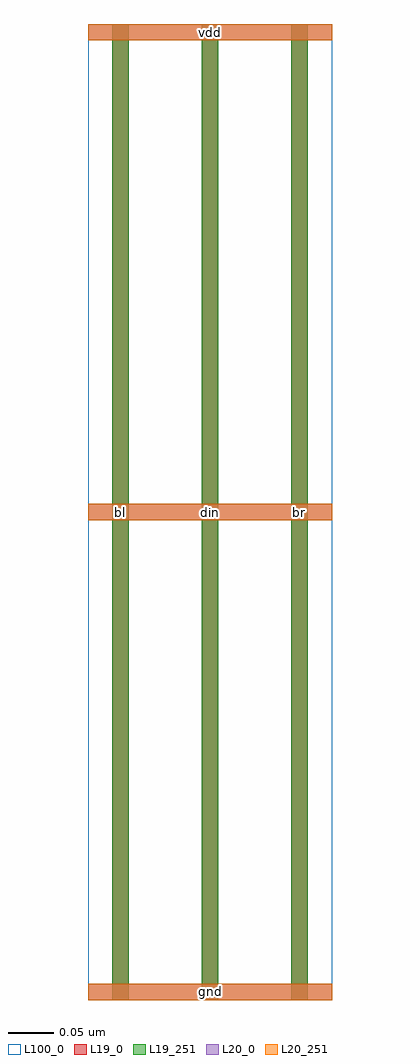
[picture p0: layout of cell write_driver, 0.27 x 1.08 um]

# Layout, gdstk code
import gdstk
lib = gdstk.Library(unit=1e-6, precision=2.5e-10)
def R(c, l, rs):  # rectangles x0, y0, x1, y1
    for r in rs: c.add(gdstk.rectangle(r[:2], r[2:], *l))
def A(c, l, x, y, w, h, nx, ny, dx, dy):  # array of equal rectangles
    R(c, l, [(x+i*dx, y+j*dy, x+i*dx+w, y+j*dy+h) for i in range(nx) for j in range(ny)])
L19_0 = (19, 0)
L19_251 = (19, 251)
L20_0 = (20, 0)
L20_251 = (20, 251)
L100_0 = (100, 0)

write_driver = lib.new_cell('write_driver')
A(write_driver, L19_0, 0.027, 0, 0.018, 1.08, 3, 1, 0.099, 0)
A(write_driver, L19_251, 0.027, 0, 0.018, 1.08, 3, 1, 0.099, 0)
A(write_driver, L20_0, 0, 0, 0.27, 0.018, 1, 3, 0, 0.531)
A(write_driver, L20_251, 0, 0, 0.27, 0.018, 1, 3, 0, 0.531)
R(write_driver, L100_0, [(0,0,0.27,1.08)])
write_driver.add(gdstk.Label('bl', (0.036,0.54), layer=19, texttype=251))
write_driver.add(gdstk.Label('br', (0.234,0.54), layer=19, texttype=251))
write_driver.add(gdstk.Label('din', (0.135,0.54), layer=19, texttype=251))
write_driver.add(gdstk.Label('gnd', (0.135,0.009), layer=20, texttype=251))
write_driver.add(gdstk.Label('en', (0.135,0.54), layer=20, texttype=251))
write_driver.add(gdstk.Label('vdd', (0.135,1.071), layer=20, texttype=251))

lib.write_gds('write_driver.gds')
